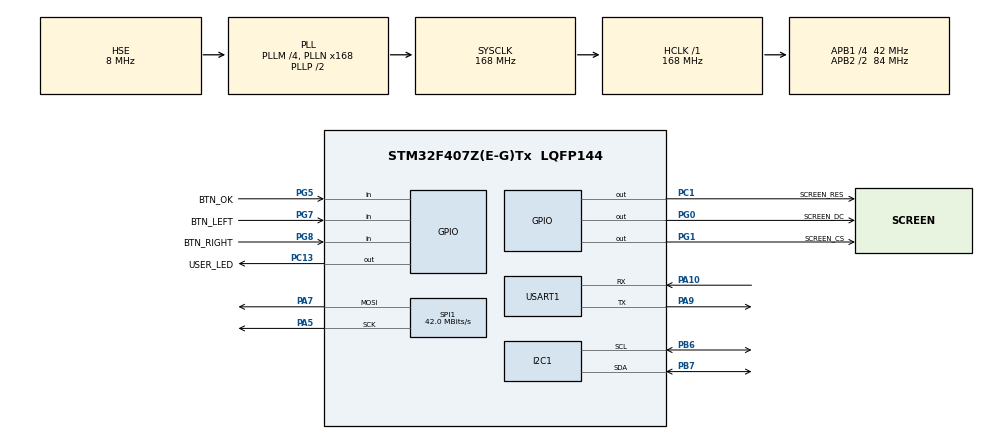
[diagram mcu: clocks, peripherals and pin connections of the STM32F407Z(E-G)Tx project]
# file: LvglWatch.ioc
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Dma.Request0=SPI1_TX
Dma.SPI1_TX.0.Direction=DMA_MEMORY_TO_PERIPH
Dma.SPI1_TX.0.FIFOMode=DMA_FIFOMODE_DISABLE
Dma.SPI1_TX.0.Instance=DMA2_Stream3
Dma.SPI1_TX.0.MemDataAlignment=DMA_MDATAALIGN_BYTE
Dma.SPI1_TX.0.MemInc=DMA_MINC_ENABLE
Dma.SPI1_TX.0.Mode=DMA_NORMAL
Dma.SPI1_TX.0.PeriphDataAlignment=DMA_PDATAALIGN_BYTE
Dma.SPI1_TX.0.PeriphInc=DMA_PINC_DISABLE
Dma.SPI1_TX.0.Priority=DMA_PRIORITY_VERY_HIGH
FREERTOS.Tasks01=defaultTask,8,128,StartDefaultTask,Default,NULL,Dynamic,NULL,NULL;display_flush_task,24,500,start_display_flush_task,Default,NULL,Dynamic,NULL,NULL
FREERTOS.configMAX_TASK_NAME_LEN=32
FREERTOS.configTOTAL_HEAP_SIZE=10000
FREERTOS.configUSE_NEWLIB_REENTRANT=1
Mcu.Family=STM32F4
Mcu.Name=STM32F407Z(E-G)Tx
Mcu.Package=LQFP144
NVIC.DMA2_Stream3_IRQn=true\:5\:0\:false\:false\:true\:true\:false\:true\:true
NVIC.PriorityGroup=NVIC_PRIORITYGROUP_4
NVIC.SPI1_IRQn=true\:5\:0\:false\:false\:true\:true\:true\:true\:true
NVIC.TIM3_IRQn=true\:5\:0\:false\:false\:true\:true\:true\:true\:true
NVIC.TIM4_IRQn=true\:5\:0\:false\:false\:true\:true\:true\:true\:true
NVIC.USART1_IRQn=true\:5\:0\:false\:false\:true\:true\:true\:true\:true
PA10.GPIO_Speed=GPIO_SPEED_FREQ_VERY_HIGH
PA10.Mode=Asynchronous
PA10.Signal=USART1_RX
PA13.Mode=Serial_Wire
PA13.Signal=SYS_JTMS-SWDIO
PA14.Mode=Serial_Wire
PA14.Signal=SYS_JTCK-SWCLK
PA5.Mode=TX_Only_Simplex_Unidirect_Master
PA5.Signal=SPI1_SCK
PA7.Mode=TX_Only_Simplex_Unidirect_Master
PA7.Signal=SPI1_MOSI
PA9.GPIO_Speed=GPIO_SPEED_FREQ_VERY_HIGH
PA9.Mode=Asynchronous
PA9.Signal=USART1_TX
PB6.GPIO_Pu=GPIO_PULLUP
PB6.GPIO_Speed=GPIO_SPEED_FREQ_VERY_HIGH
PB6.Mode=I2C
PB6.Signal=I2C1_SCL
PB7.GPIO_Pu=GPIO_PULLUP
PB7.GPIO_Speed=GPIO_SPEED_FREQ_VERY_HIGH
PB7.Mode=I2C
PB7.Signal=I2C1_SDA
PC1.GPIO_Label=SCREEN_RES
PC1.GPIO_Speed=GPIO_SPEED_FREQ_VERY_HIGH
PC1.Signal=GPIO_Output
PC13-ANTI_TAMP.GPIO_Label=USER_LED
PC13-ANTI_TAMP.Signal=GPIO_Output
PC14-OSC32_IN.Mode=LSE-External-Oscillator
PC14-OSC32_IN.Signal=RCC_OSC32_IN
PC15-OSC32_OUT.Mode=LSE-External-Oscillator
PC15-OSC32_OUT.Signal=RCC_OSC32_OUT
PG0.GPIO_Label=SCREEN_DC
PG0.GPIO_Speed=GPIO_SPEED_FREQ_VERY_HIGH
PG0.Signal=GPIO_Output
PG1.GPIO_Label=SCREEN_CS
PG1.GPIO_Speed=GPIO_SPEED_FREQ_VERY_HIGH
PG1.PinState=GPIO_PIN_SET
PG1.Signal=GPIO_Output
PG5.GPIO_Label=BTN_OK
PG5.Signal=GPIO_Input
PG7.GPIO_Label=BTN_LEFT
PG7.Signal=GPIO_Input
PG8.GPIO_Label=BTN_RIGHT
PG8.Signal=GPIO_Input
PH0-OSC_IN.Mode=HSE-External-Oscillator
PH0-OSC_IN.Signal=RCC_OSC_IN
PH1-OSC_OUT.Mode=HSE-External-Oscillator
PH1-OSC_OUT.Signal=RCC_OSC_OUT
ProjectManager.HeapSize=0x200
ProjectManager.StackSize=0x400
ProjectManager.TargetToolchain=STM32CubeIDE
RCC.48MHZClocksFreq_Value=84000000
RCC.AHBFreq_Value=168000000
RCC.APB1CLKDivider=RCC_HCLK_DIV4
RCC.APB1Freq_Value=42000000
RCC.APB1TimFreq_Value=84000000
RCC.APB2CLKDivider=RCC_HCLK_DIV2
RCC.APB2Freq_Value=84000000
RCC.APB2TimFreq_Value=168000000
RCC.CortexFreq_Value=168000000
RCC.EnbaleCSS=true
RCC.HCLKFreq_Value=168000000
RCC.HSE_VALUE=8000000
RCC.HSI_VALUE=16000000
RCC.PLLM=4
RCC.PLLN=168
RCC.PLLSourceVirtual=RCC_PLLSOURCE_HSE
RCC.RCC_RTC_Clock_Source=RCC_RTCCLKSOURCE_LSE
RCC.RCC_RTC_Clock_SourceVirtual=RCC_RTCCLKSOURCE_LSE
RCC.SYSCLKFreq_VALUE=168000000
RCC.SYSCLKSource=RCC_SYSCLKSOURCE_PLLCLK
RCC.VCOOutputFreq_Value=336000000
RTC.Date=6
RTC.Format=RTC_FORMAT_BIN
RTC.Hours=9
RTC.Minutes=15
RTC.Month=RTC_MONTH_FEBRUARY
RTC.Seconds=0
RTC.WeekDay=RTC_WEEKDAY_MONDAY
RTC.Year=23
SPI1.CLKPhase=SPI_PHASE_2EDGE
SPI1.CLKPolarity=SPI_POLARITY_HIGH
SPI1.CalculateBaudRate=42.0 MBits/s
SPI1.Direction=SPI_DIRECTION_2LINES
SPI1.Mode=SPI_MODE_MASTER
SPI1.VirtualType=VM_MASTER
TIM3.AutoReloadPreload=TIM_AUTORELOAD_PRELOAD_ENABLE
TIM3.Period=10
TIM3.Prescaler=16800 - 1
TIM4.AutoReloadPreload=TIM_AUTORELOAD_PRELOAD_ENABLE
TIM4.Period=10 * 4 - 1
TIM4.Prescaler=16800 - 1
USART1.VirtualMode=VM_ASYNC
VP_FREERTOS_VS_CMSIS_V2.Mode=CMSIS_V2
VP_RTC_VS_RTC_Activate.Mode=RTC_Enabled
VP_RTC_VS_RTC_Calendar.Mode=RTC_Calendar
VP_TIM3_VS_ClockSourceINT.Mode=Internal
VP_TIM4_VS_ClockSourceINT.Mode=Internal
board=custom

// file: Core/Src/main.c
/* USER CODE BEGIN Header */
/**
  ******************************************************************************
  * @file           : main.c
  * @brief          : Main program body
  ******************************************************************************
  * @attention
  *
  * Copyright (c) 2023 STMicroelectronics.
  * All rights reserved.
  *
  * This software is licensed under terms that can be found in the LICENSE file
  * in the root directory of this software component.
  * If no LICENSE file comes with this software, it is provided AS-IS.
  *
  ******************************************************************************
  */
/* USER CODE END Header */
#include "main.h"
#include "cmsis_os.h"
#include "dma.h"
#include "i2c.h"
#include "rtc.h"
#include "spi.h"
#include "tim.h"
#include "usart.h"
#include "gpio.h"

void SystemClock_Config(void);
void MX_FREERTOS_Init(void);

int main(void)
{

  /* MCU Configuration--------------------------------------------------------*/

  /* Reset of all peripherals, Initializes the Flash interface and the Systick. */
  HAL_Init();

  /* Configure the system clock */
  SystemClock_Config();

  /* Initialize all configured peripherals */
  MX_GPIO_Init();
  MX_DMA_Init();
  MX_I2C1_Init();
  MX_USART1_UART_Init();
  MX_TIM3_Init();
  MX_RTC_Init();
  MX_SPI1_Init();
  MX_TIM4_Init();

  /* Init scheduler */
  osKernelInitialize();  /* Call init function for freertos objects (in freertos.c) */
  MX_FREERTOS_Init();

  /* Start scheduler */
  osKernelStart();

  /* We should never get here as control is now taken by the scheduler */
  /* Infinite loop */
  while (1)
  {

  }
}

void SystemClock_Config(void)
{
  RCC_OscInitTypeDef RCC_OscInitStruct = {0};
  RCC_ClkInitTypeDef RCC_ClkInitStruct = {0};

  /** Configure the main internal regulator output voltage
  */
  __HAL_RCC_PWR_CLK_ENABLE();
  __HAL_PWR_VOLTAGESCALING_CONFIG(PWR_REGULATOR_VOLTAGE_SCALE1);

  /** Initializes the RCC Oscillators according to the specified parameters
  * in the RCC_OscInitTypeDef structure.
  */
  RCC_OscInitStruct.OscillatorType = RCC_OSCILLATORTYPE_HSE|RCC_OSCILLATORTYPE_LSE;
  RCC_OscInitStruct.HSEState = RCC_HSE_ON;
  RCC_OscInitStruct.LSEState = RCC_LSE_ON;
  RCC_OscInitStruct.PLL.PLLState = RCC_PLL_ON;
  RCC_OscInitStruct.PLL.PLLSource = RCC_PLLSOURCE_HSE;
  RCC_OscInitStruct.PLL.PLLM = 4;
  RCC_OscInitStruct.PLL.PLLN = 168;
  RCC_OscInitStruct.PLL.PLLP = RCC_PLLP_DIV2;
  RCC_OscInitStruct.PLL.PLLQ = 4;
  if (HAL_RCC_OscConfig(&RCC_OscInitStruct) != HAL_OK)
  {
    Error_Handler();
  }

  /** Initializes the CPU, AHB and APB buses clocks
  */
  RCC_ClkInitStruct.ClockType = RCC_CLOCKTYPE_HCLK|RCC_CLOCKTYPE_SYSCLK
                              |RCC_CLOCKTYPE_PCLK1|RCC_CLOCKTYPE_PCLK2;
  RCC_ClkInitStruct.SYSCLKSource = RCC_SYSCLKSOURCE_PLLCLK;
  RCC_ClkInitStruct.AHBCLKDivider = RCC_SYSCLK_DIV1;
  RCC_ClkInitStruct.APB1CLKDivider = RCC_HCLK_DIV4;
  RCC_ClkInitStruct.APB2CLKDivider = RCC_HCLK_DIV2;

  if (HAL_RCC_ClockConfig(&RCC_ClkInitStruct, FLASH_LATENCY_5) != HAL_OK)
  {
    Error_Handler();
  }

  /** Enables the Clock Security System
  */
  HAL_RCC_EnableCSS();
}

void Error_Handler(void)
{
  __disable_irq();
  while (1)
  {
  }
}

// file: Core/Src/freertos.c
/* USER CODE BEGIN Header */
/**
  ******************************************************************************
  * File Name          : freertos.c
  * Description        : Code for freertos applications
  ******************************************************************************
  * @attention
  *
  * Copyright (c) 2023 STMicroelectronics.
  * All rights reserved.
  *
  * This software is licensed under terms that can be found in the LICENSE file
  * in the root directory of this software component.
  * If no LICENSE file comes with this software, it is provided AS-IS.
  *
  ******************************************************************************
  */
/* USER CODE END Header */

#include "FreeRTOS.h"
#include "task.h"
#include "main.h"
#include "cmsis_os.h"

/* USER CODE BEGIN Includes */
#include <stdio.h>
#include "bsp.h"
#include "lvgl.h"
#include "lv_port_disp.h"
#include "app_display.h"
#include "page_manager.h"

/* USER CODE END Includes */

/* USER CODE BEGIN Variables */

page_manager_t g_page_manager;    /* 界面管理器 */

/* USER CODE END Variables */
/* Definitions for defaultTask */
osThreadId_t defaultTaskHandle;
const osThreadAttr_t defaultTask_attributes = {
  .name = "defaultTask",
  .stack_size = 128 * 4,
  .priority = (osPriority_t) osPriorityLow,
};
/* Definitions for display_flush_task */
osThreadId_t display_flush_taskHandle;
const osThreadAttr_t display_flush_task_attributes = {
  .name = "display_flush_task",
  .stack_size = 500 * 4,
  .priority = (osPriority_t) osPriorityNormal,
};

void StartDefaultTask(void *argument);
void start_display_flush_task(void *argument);

void MX_FREERTOS_Init(void); /* (MISRA C 2004 rule 8.1) */

void MX_FREERTOS_Init(void) {
  /* USER CODE BEGIN Init */

//	bsp_rtc_init();
	bsp_bmp280_init();
	bsp_button_init();
	bsp_led_init();
	bsp_display_init();

	/* lvgl及显示驱动初始化 */
	lv_init();
	lv_port_disp_init();
	HAL_TIM_Base_Start_IT(&LVGL_TICK_TIM_HANDLE);

	/* 界面管理器初始化 */
	page_manager_create(&g_page_manager, 15, 15);

	/* 软件界面显示初始化 */
	app_display_init();

  /* USER CODE END Init */

  /* Create the thread(s) */
  /* creation of defaultTask */
  defaultTaskHandle = osThreadNew(StartDefaultTask, NULL, &defaultTask_attributes);

  /* creation of display_flush_task */
  display_flush_taskHandle = osThreadNew(start_display_flush_task, NULL, &display_flush_task_attributes);

}

void StartDefaultTask(void *argument)
{
  /* USER CODE BEGIN StartDefaultTask */
	/* Infinite loop */
	for (;;)
	{
		led_open(&g_user_led);
		HAL_Delay(500);
		led_close(&g_user_led);
		HAL_Delay(500);

		osDelay(1);
	}
  /* USER CODE END StartDefaultTask */
}

/* USER CODE BEGIN Header_start_display_flush_task */
/**
* @brief 显示器刷新任务
* @param argument: Not used
* @retval None
*/
/* USER CODE END Header_start_display_flush_task */
void start_display_flush_task(void *argument)
{
  /* USER CODE BEGIN start_display_flush_task */
	/* Infinite loop */
	for (;;)
	{
		app_display_update();

		osDelay(1);
	}
  /* USER CODE END start_display_flush_task */
}

/* USER CODE BEGIN Application */

/**
 * @brief 定时器中断回调
 * @param[in]	htim
 */
void HAL_TIM_PeriodElapsedCallback(TIM_HandleTypeDef *htim)
{
	/* 按键扫描中断 */
	if (htim->Instance == BTN_SCAN_TIM)
		button_ticks();

	/* lvgl tick */
	if (htim->Instance == LVGL_TICK_TIM)
		lv_tick_inc(1);
}

/* USER CODE END Application */
